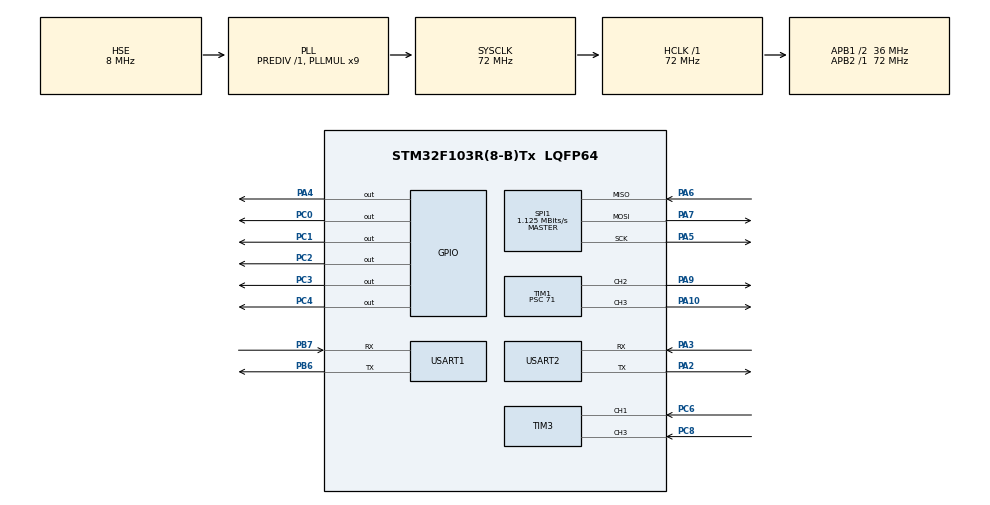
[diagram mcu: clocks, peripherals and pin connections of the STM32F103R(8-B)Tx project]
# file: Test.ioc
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Dma.Request0=USART1_TX
Dma.Request1=USART1_RX
Dma.USART1_RX.1.Direction=DMA_PERIPH_TO_MEMORY
Dma.USART1_RX.1.Instance=DMA1_Channel5
Dma.USART1_RX.1.MemDataAlignment=DMA_MDATAALIGN_BYTE
Dma.USART1_RX.1.MemInc=DMA_MINC_ENABLE
Dma.USART1_RX.1.Mode=DMA_NORMAL
Dma.USART1_RX.1.PeriphDataAlignment=DMA_PDATAALIGN_BYTE
Dma.USART1_RX.1.PeriphInc=DMA_PINC_DISABLE
Dma.USART1_RX.1.Priority=DMA_PRIORITY_VERY_HIGH
Dma.USART1_TX.0.Direction=DMA_MEMORY_TO_PERIPH
Dma.USART1_TX.0.Instance=DMA1_Channel4
Dma.USART1_TX.0.MemDataAlignment=DMA_MDATAALIGN_BYTE
Dma.USART1_TX.0.MemInc=DMA_MINC_ENABLE
Dma.USART1_TX.0.Mode=DMA_NORMAL
Dma.USART1_TX.0.PeriphDataAlignment=DMA_PDATAALIGN_BYTE
Dma.USART1_TX.0.PeriphInc=DMA_PINC_DISABLE
Dma.USART1_TX.0.Priority=DMA_PRIORITY_LOW
FREERTOS.Tasks01=imuCalTask,24,256,StartImuCalTask,Default,NULL,Dynamic,NULL,NULL;odometryTask,24,128,StartOdometryTask,Default,NULL,Dynamic,NULL,NULL
FREERTOS.configTOTAL_HEAP_SIZE=13000
Mcu.Family=STM32F1
Mcu.Name=STM32F103R(8-B)Tx
Mcu.Package=LQFP64
NVIC.DMA1_Channel4_IRQn=true\:5\:0\:false\:false\:true\:true\:false\:true\:true
NVIC.DMA1_Channel5_IRQn=true\:5\:0\:false\:false\:true\:true\:false\:true\:true
NVIC.PriorityGroup=NVIC_PRIORITYGROUP_4
NVIC.TIM3_IRQn=true\:5\:0\:false\:false\:true\:true\:true\:true\:true
PA10.Signal=S_TIM1_CH3
PA13.Mode=Serial_Wire
PA13.Signal=SYS_JTMS-SWDIO
PA14.Mode=Serial_Wire
PA14.Signal=SYS_JTCK-SWCLK
PA2.Mode=Asynchronous
PA2.Signal=USART2_TX
PA3.Mode=Asynchronous
PA3.Signal=USART2_RX
PA4.Signal=GPIO_Output
PA5.Mode=Full_Duplex_Master
PA5.Signal=SPI1_SCK
PA6.Mode=Full_Duplex_Master
PA6.Signal=SPI1_MISO
PA7.Mode=Full_Duplex_Master
PA7.Signal=SPI1_MOSI
PA9.Signal=S_TIM1_CH2
PB6.Mode=Asynchronous
PB6.Signal=USART1_TX
PB7.Mode=Asynchronous
PB7.Signal=USART1_RX
PC0.Signal=GPIO_Output
PC1.Signal=GPIO_Output
PC2.Signal=GPIO_Output
PC3.Signal=GPIO_Output
PC4.Signal=GPIO_Output
PC6.GPIO_PuPd=GPIO_PULLUP
PC6.Signal=S_TIM3_CH1
PC8.Signal=S_TIM3_CH3
PD0-OSC_IN.Mode=HSE-External-Oscillator
PD0-OSC_IN.Signal=RCC_OSC_IN
PD1-OSC_OUT.Mode=HSE-External-Oscillator
PD1-OSC_OUT.Signal=RCC_OSC_OUT
ProjectManager.HeapSize=0x200
ProjectManager.StackSize=0x400
ProjectManager.TargetToolchain=STM32CubeIDE
RCC.AHBFreq_Value=72000000
RCC.APB1CLKDivider=RCC_HCLK_DIV2
RCC.APB1Freq_Value=36000000
RCC.APB1TimFreq_Value=72000000
RCC.APB2Freq_Value=72000000
RCC.APB2TimFreq_Value=72000000
RCC.HCLKFreq_Value=72000000
RCC.PLLMUL=RCC_PLL_MUL9
RCC.PLLSourceVirtual=RCC_PLLSOURCE_HSE
RCC.SYSCLKFreq_VALUE=72000000
RCC.SYSCLKSource=RCC_SYSCLKSOURCE_PLLCLK
RCC.USBFreq_Value=72000000
SH.S_TIM1_CH2.0=TIM1_CH2,PWM Generation2 CH2
SH.S_TIM1_CH3.0=TIM1_CH3,PWM Generation3 CH3
SH.S_TIM3_CH1.0=TIM3_CH1,Input_Capture1_from_TI1
SH.S_TIM3_CH3.0=TIM3_CH3,Input_Capture3_from_TI3
SPI1.BaudRatePrescaler=SPI_BAUDRATEPRESCALER_64
SPI1.CLKPhase=SPI_PHASE_2EDGE
SPI1.CLKPolarity=SPI_POLARITY_HIGH
SPI1.CalculateBaudRate=1.125 MBits/s
SPI1.Direction=SPI_DIRECTION_2LINES
SPI1.Mode=SPI_MODE_MASTER
SPI1.VirtualType=VM_MASTER
TIM1.Channel-PWM\ Generation2\ CH2=TIM_CHANNEL_2
TIM1.Channel-PWM\ Generation3\ CH3=TIM_CHANNEL_3
TIM1.Period=1000
TIM1.Prescaler=71
TIM3.Channel-Input_Capture1_from_TI1=TIM_CHANNEL_1
TIM3.Channel-Input_Capture3_from_TI3=TIM_CHANNEL_3
TIM3.ICFilter_CH1=0
USART1.VirtualMode=VM_ASYNC
USART2.VirtualMode=VM_ASYNC
VP_FREERTOS_VS_CMSIS_V2.Mode=CMSIS_V2
VP_TIM1_VS_ClockSourceINT.Mode=Internal
board=custom

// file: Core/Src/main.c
/* USER CODE BEGIN Header */
/**
  ******************************************************************************
  * @file           : main.c
  * @brief          : Main program body
  ******************************************************************************
  * @attention
  *
  * Copyright (c) 2025 STMicroelectronics.
  * All rights reserved.
  *
  * This software is licensed under terms that can be found in the LICENSE file
  * in the root directory of this software component.
  * If no LICENSE file comes with this software, it is provided AS-IS.
  *
  ******************************************************************************
  */
/* USER CODE END Header */
#include "main.h"
#include "cmsis_os.h"

/* USER CODE BEGIN Includes */
#include <stdio.h>
#include "imu.h"
#include "motor.h"

#define _USE_MATH_DEFINES
#include <math.h>
/* USER CODE END Includes */

/* USER CODE BEGIN PD */
#define CMD_IMU 0
#define CMD_ODOM 1
#define CMD_VEL 2
#define CMD_VEL_LENGTH 11
/* USER CODE END PD */

SPI_HandleTypeDef hspi1;

TIM_HandleTypeDef htim1;
TIM_HandleTypeDef htim3;

UART_HandleTypeDef huart1;
UART_HandleTypeDef huart2;
DMA_HandleTypeDef hdma_usart1_tx;
DMA_HandleTypeDef hdma_usart1_rx;

/* Definitions for imuCalTask */
osThreadId_t imuCalTaskHandle;
const osThreadAttr_t imuCalTask_attributes = {
  .name = "imuCalTask",
  .stack_size = 256 * 4,
  .priority = (osPriority_t) osPriorityNormal,
};
/* Definitions for odometryTask */
osThreadId_t odometryTaskHandle;
const osThreadAttr_t odometryTask_attributes = {
  .name = "odometryTask",
  .stack_size = 128 * 4,
  .priority = (osPriority_t) osPriorityNormal,
};
/* USER CODE BEGIN PV */
__IO int32_t count_l = 0, count_r = 0;
__IO int8_t left_direction = 1, right_direction = 1;

typedef struct {
	float angular_velocity[3];
	float linear_acceleration[3];
} Imu;

typedef struct {
	int32_t left_tick;
	int32_t right_tick;
} Odom;

__IO Imu imu_data;
__IO Odom odom_data;
Motor motor;
osMutexId_t uartMutex;

uint8_t rx_buffer[16];
/* USER CODE END PV */

void SystemClock_Config(void);
static void MX_GPIO_Init(void);
static void MX_DMA_Init(void);
static void MX_SPI1_Init(void);
static void MX_TIM1_Init(void);
static void MX_USART2_UART_Init(void);
static void MX_TIM3_Init(void);
static void MX_USART1_UART_Init(void);
void StartImuCalTask(void *argument);
void StartOdometryTask(void *argument);

/* USER CODE BEGIN PFP */
int _write(int file, char* p, int len);
//int __io_putchar(int ch)
//{
// // Write character to ITM ch.0
// ITM_SendChar(ch);
// return(ch);
//}

void IMU_Init(ICM20948* imu);
void Motor_Init(Motor* motor);
/* USER CODE END PFP */

int main(void)
{

  /* MCU Configuration--------------------------------------------------------*/

  /* Reset of all peripherals, Initializes the Flash interface and the Systick. */
  HAL_Init();

  /* Configure the system clock */
  SystemClock_Config();

  /* Initialize all configured peripherals */
  MX_GPIO_Init();
  MX_DMA_Init();
  MX_SPI1_Init();
  MX_TIM1_Init();
  MX_USART2_UART_Init();
  MX_TIM3_Init();
  MX_USART1_UART_Init();
  /* USER CODE BEGIN 2 */
  Motor_Init(&motor);
  Motor_Start(&motor);

  HAL_UARTEx_ReceiveToIdle_DMA(&huart1, rx_buffer, 11);
  const osMutexAttr_t uartMutex_attr = {
    .name = "uartMutex"
  };

  uartMutex = osMutexNew(&uartMutex_attr);
  /* USER CODE END 2 */

  /* Init scheduler */
  osKernelInitialize();

  /* Create the thread(s) */
  /* creation of imuCalTask */
  imuCalTaskHandle = osThreadNew(StartImuCalTask, NULL, &imuCalTask_attributes);

  /* creation of odometryTask */
  odometryTaskHandle = osThreadNew(StartOdometryTask, NULL, &odometryTask_attributes);

  /* Start scheduler */
  osKernelStart();

  /* We should never get here as control is now taken by the scheduler */

  /* Infinite loop */
  while (1)
  {

  }
}

void SystemClock_Config(void)
{
  RCC_OscInitTypeDef RCC_OscInitStruct = {0};
  RCC_ClkInitTypeDef RCC_ClkInitStruct = {0};

  /** Initializes the RCC Oscillators according to the specified parameters
  * in the RCC_OscInitTypeDef structure.
  */
  RCC_OscInitStruct.OscillatorType = RCC_OSCILLATORTYPE_HSE;
  RCC_OscInitStruct.HSEState = RCC_HSE_ON;
  RCC_OscInitStruct.HSEPredivValue = RCC_HSE_PREDIV_DIV1;
  RCC_OscInitStruct.HSIState = RCC_HSI_ON;
  RCC_OscInitStruct.PLL.PLLState = RCC_PLL_ON;
  RCC_OscInitStruct.PLL.PLLSource = RCC_PLLSOURCE_HSE;
  RCC_OscInitStruct.PLL.PLLMUL = RCC_PLL_MUL9;
  if (HAL_RCC_OscConfig(&RCC_OscInitStruct) != HAL_OK)
  {
    Error_Handler();
  }

  /** Initializes the CPU, AHB and APB buses clocks
  */
  RCC_ClkInitStruct.ClockType = RCC_CLOCKTYPE_HCLK|RCC_CLOCKTYPE_SYSCLK
                              |RCC_CLOCKTYPE_PCLK1|RCC_CLOCKTYPE_PCLK2;
  RCC_ClkInitStruct.SYSCLKSource = RCC_SYSCLKSOURCE_PLLCLK;
  RCC_ClkInitStruct.AHBCLKDivider = RCC_SYSCLK_DIV1;
  RCC_ClkInitStruct.APB1CLKDivider = RCC_HCLK_DIV2;
  RCC_ClkInitStruct.APB2CLKDivider = RCC_HCLK_DIV1;

  if (HAL_RCC_ClockConfig(&RCC_ClkInitStruct, FLASH_LATENCY_2) != HAL_OK)
  {
    Error_Handler();
  }
}

static void MX_SPI1_Init(void)
{

  /* SPI1 parameter configuration*/
  hspi1.Instance = SPI1;
  hspi1.Init.Mode = SPI_MODE_MASTER;
  hspi1.Init.Direction = SPI_DIRECTION_2LINES;
  hspi1.Init.DataSize = SPI_DATASIZE_8BIT;
  hspi1.Init.CLKPolarity = SPI_POLARITY_HIGH;
  hspi1.Init.CLKPhase = SPI_PHASE_2EDGE;
  hspi1.Init.NSS = SPI_NSS_SOFT;
  hspi1.Init.BaudRatePrescaler = SPI_BAUDRATEPRESCALER_64;
  hspi1.Init.FirstBit = SPI_FIRSTBIT_MSB;
  hspi1.Init.TIMode = SPI_TIMODE_DISABLE;
  hspi1.Init.CRCCalculation = SPI_CRCCALCULATION_DISABLE;
  hspi1.Init.CRCPolynomial = 10;
  if (HAL_SPI_Init(&hspi1) != HAL_OK)
  {
    Error_Handler();
  }

}

static void MX_TIM1_Init(void)
{

  TIM_ClockConfigTypeDef sClockSourceConfig = {0};
  TIM_MasterConfigTypeDef sMasterConfig = {0};
  TIM_OC_InitTypeDef sConfigOC = {0};
  TIM_BreakDeadTimeConfigTypeDef sBreakDeadTimeConfig = {0};

  htim1.Instance = TIM1;
  htim1.Init.Prescaler = 71;
  htim1.Init.CounterMode = TIM_COUNTERMODE_UP;
  htim1.Init.Period = 1000;
  htim1.Init.ClockDivision = TIM_CLOCKDIVISION_DIV1;
  htim1.Init.RepetitionCounter = 0;
  htim1.Init.AutoReloadPreload = TIM_AUTORELOAD_PRELOAD_DISABLE;
  if (HAL_TIM_Base_Init(&htim1) != HAL_OK)
  {
    Error_Handler();
  }
  sClockSourceConfig.ClockSource = TIM_CLOCKSOURCE_INTERNAL;
  if (HAL_TIM_ConfigClockSource(&htim1, &sClockSourceConfig) != HAL_OK)
  {
    Error_Handler();
  }
  if (HAL_TIM_PWM_Init(&htim1) != HAL_OK)
  {
    Error_Handler();
  }
  sMasterConfig.MasterOutputTrigger = TIM_TRGO_RESET;
  sMasterConfig.MasterSlaveMode = TIM_MASTERSLAVEMODE_DISABLE;
  if (HAL_TIMEx_MasterConfigSynchronization(&htim1, &sMasterConfig) != HAL_OK)
  {
    Error_Handler();
  }
  sConfigOC.OCMode = TIM_OCMODE_PWM1;
  sConfigOC.Pulse = 0;
  sConfigOC.OCPolarity = TIM_OCPOLARITY_HIGH;
  sConfigOC.OCNPolarity = TIM_OCNPOLARITY_HIGH;
  sConfigOC.OCFastMode = TIM_OCFAST_DISABLE;
  sConfigOC.OCIdleState = TIM_OCIDLESTATE_RESET;
  sConfigOC.OCNIdleState = TIM_OCNIDLESTATE_RESET;
  if (HAL_TIM_PWM_ConfigChannel(&htim1, &sConfigOC, TIM_CHANNEL_2) != HAL_OK)
  {
    Error_Handler();
  }
  if (HAL_TIM_PWM_ConfigChannel(&htim1, &sConfigOC, TIM_CHANNEL_3) != HAL_OK)
  {
    Error_Handler();
  }
  sBreakDeadTimeConfig.OffStateRunMode = TIM_OSSR_DISABLE;
  sBreakDeadTimeConfig.OffStateIDLEMode = TIM_OSSI_DISABLE;
  sBreakDeadTimeConfig.LockLevel = TIM_LOCKLEVEL_OFF;
  sBreakDeadTimeConfig.DeadTime = 0;
  sBreakDeadTimeConfig.BreakState = TIM_BREAK_DISABLE;
  sBreakDeadTimeConfig.BreakPolarity = TIM_BREAKPOLARITY_HIGH;
  sBreakDeadTimeConfig.AutomaticOutput = TIM_AUTOMATICOUTPUT_DISABLE;
  if (HAL_TIMEx_ConfigBreakDeadTime(&htim1, &sBreakDeadTimeConfig) != HAL_OK)
  {
    Error_Handler();
  }
  HAL_TIM_MspPostInit(&htim1);

}

static void MX_TIM3_Init(void)
{

  TIM_MasterConfigTypeDef sMasterConfig = {0};
  TIM_IC_InitTypeDef sConfigIC = {0};

  htim3.Instance = TIM3;
  htim3.Init.Prescaler = 0;
  htim3.Init.CounterMode = TIM_COUNTERMODE_UP;
  htim3.Init.Period = 65535;
  htim3.Init.ClockDivision = TIM_CLOCKDIVISION_DIV1;
  htim3.Init.AutoReloadPreload = TIM_AUTORELOAD_PRELOAD_DISABLE;
  if (HAL_TIM_IC_Init(&htim3) != HAL_OK)
  {
    Error_Handler();
  }
  sMasterConfig.MasterOutputTrigger = TIM_TRGO_RESET;
  sMasterConfig.MasterSlaveMode = TIM_MASTERSLAVEMODE_DISABLE;
  if (HAL_TIMEx_MasterConfigSynchronization(&htim3, &sMasterConfig) != HAL_OK)
  {
    Error_Handler();
  }
  sConfigIC.ICPolarity = TIM_INPUTCHANNELPOLARITY_RISING;
  sConfigIC.ICSelection = TIM_ICSELECTION_DIRECTTI;
  sConfigIC.ICPrescaler = TIM_ICPSC_DIV1;
  sConfigIC.ICFilter = 0;
  if (HAL_TIM_IC_ConfigChannel(&htim3, &sConfigIC, TIM_CHANNEL_1) != HAL_OK)
  {
    Error_Handler();
  }
  if (HAL_TIM_IC_ConfigChannel(&htim3, &sConfigIC, TIM_CHANNEL_3) != HAL_OK)
  {
    Error_Handler();
  }

}

static void MX_USART1_UART_Init(void)
{

  huart1.Instance = USART1;
  huart1.Init.BaudRate = 115200;
  huart1.Init.WordLength = UART_WORDLENGTH_8B;
  huart1.Init.StopBits = UART_STOPBITS_1;
  huart1.Init.Parity = UART_PARITY_NONE;
  huart1.Init.Mode = UART_MODE_TX_RX;
  huart1.Init.HwFlowCtl = UART_HWCONTROL_NONE;
  huart1.Init.OverSampling = UART_OVERSAMPLING_16;
  if (HAL_UART_Init(&huart1) != HAL_OK)
  {
    Error_Handler();
  }

}

static void MX_USART2_UART_Init(void)
{

  huart2.Instance = USART2;
  huart2.Init.BaudRate = 115200;
  huart2.Init.WordLength = UART_WORDLENGTH_8B;
  huart2.Init.StopBits = UART_STOPBITS_1;
  huart2.Init.Parity = UART_PARITY_NONE;
  huart2.Init.Mode = UART_MODE_TX_RX;
  huart2.Init.HwFlowCtl = UART_HWCONTROL_NONE;
  huart2.Init.OverSampling = UART_OVERSAMPLING_16;
  if (HAL_UART_Init(&huart2) != HAL_OK)
  {
    Error_Handler();
  }

}

static void MX_DMA_Init(void)
{

  /* DMA controller clock enable */
  __HAL_RCC_DMA1_CLK_ENABLE();

  /* DMA interrupt init */
  /* DMA1_Channel4_IRQn interrupt configuration */
  HAL_NVIC_SetPriority(DMA1_Channel4_IRQn, 5, 0);
  HAL_NVIC_EnableIRQ(DMA1_Channel4_IRQn);
  /* DMA1_Channel5_IRQn interrupt configuration */
  HAL_NVIC_SetPriority(DMA1_Channel5_IRQn, 5, 0);
  HAL_NVIC_EnableIRQ(DMA1_Channel5_IRQn);

}

static void MX_GPIO_Init(void)
{
  GPIO_InitTypeDef GPIO_InitStruct = {0};

  /* GPIO Ports Clock Enable */
  __HAL_RCC_GPIOD_CLK_ENABLE();
  __HAL_RCC_GPIOC_CLK_ENABLE();
  __HAL_RCC_GPIOA_CLK_ENABLE();
  __HAL_RCC_GPIOB_CLK_ENABLE();

  /*Configure GPIO pin Output Level */
  HAL_GPIO_WritePin(GPIOC, GPIO_PIN_0|GPIO_PIN_1|GPIO_PIN_2|GPIO_PIN_3
                          |GPIO_PIN_4, GPIO_PIN_RESET);

  /*Configure GPIO pin Output Level */
  HAL_GPIO_WritePin(GPIOA, GPIO_PIN_4, GPIO_PIN_RESET);

  /*Configure GPIO pins : PC0 PC1 PC2 PC3
                           PC4 */
  GPIO_InitStruct.Pin = GPIO_PIN_0|GPIO_PIN_1|GPIO_PIN_2|GPIO_PIN_3
                          |GPIO_PIN_4;
  GPIO_InitStruct.Mode = GPIO_MODE_OUTPUT_PP;
  GPIO_InitStruct.Pull = GPIO_NOPULL;
  GPIO_InitStruct.Speed = GPIO_SPEED_FREQ_LOW;
  HAL_GPIO_Init(GPIOC, &GPIO_InitStruct);

  /*Configure GPIO pin : PA4 */
  GPIO_InitStruct.Pin = GPIO_PIN_4;
  GPIO_InitStruct.Mode = GPIO_MODE_OUTPUT_PP;
  GPIO_InitStruct.Pull = GPIO_NOPULL;
  GPIO_InitStruct.Speed = GPIO_SPEED_FREQ_LOW;
  HAL_GPIO_Init(GPIOA, &GPIO_InitStruct);

}

/* USER CODE BEGIN 4 */
int _write(int file, char* p, int len){
	HAL_UART_Transmit(&huart2, (const uint8_t*)p, len, 10);
	return len;
}

void IMU_Init(ICM20948* imu) {
  imu->spi_handle = &hspi1;
  imu->spi_port = GPIOA;
  imu->sclk_pin = GPIO_PIN_5;
  imu->miso_pin = GPIO_PIN_6;
  imu->mosi_pin = GPIO_PIN_7;
  imu->cs_pin = GPIO_PIN_4;

  Set_Ub(imu, 0);
  Write_Data(imu, PWR_MGMT_1, 0x80);
  osDelay(100);
  Write_Data(imu, PWR_MGMT_1, 0x01);
  Write_Data(imu, PWR_MGMT_2, 0x00);
  osDelay(1);

  if (Set_Gyro_Config1(imu, 0b000, DPS_250, 0b0) || Set_Accel_Config(imu, 0b000, FSR_2g, 0b0)) {
	  printf("ICM20948 config error!\r\n");
  } else {
	  printf("ICM20948 config success!\r\n");
  }

}

void Motor_Init(Motor* motor) {
	motor->left_gpio_port = GPIOC;
	motor->right_gpio_port = GPIOC;
	motor->left_int1_pin = GPIO_PIN_0;
	motor->left_int2_pin = GPIO_PIN_1;
	motor->right_int1_pin = GPIO_PIN_2;
	motor->right_int2_pin = GPIO_PIN_3;
	motor->motor_handle.left_htim = &htim1;
	motor->motor_handle.right_htim = &htim1;
	motor->motor_handle.left_channel = TIM_CHANNEL_2;
	motor->motor_handle.right_channel = TIM_CHANNEL_3;
}

void HAL_TIM_IC_CaptureCallback(TIM_HandleTypeDef* htim) {
	if (htim->Channel == HAL_TIM_ACTIVE_CHANNEL_1) {
		count_l += left_direction;
	} else if (htim->Channel == HAL_TIM_ACTIVE_CHANNEL_3) {
		count_r += right_direction;
	}
}

void HAL_UARTEx_RxEventCallback(UART_HandleTypeDef *huart, uint16_t Size)
{
    if (huart->Instance == USART1)
    {
    	for(int i=0; i < Size-10; i++)
    	{
    	    if(rx_buffer[i] == 0xAA && rx_buffer[i+10] == 0xFF)
    	    {
    	    	if (rx_buffer[i+1] != CMD_VEL) continue;
    	        float left, right;

    	        memcpy(&left, &rx_buffer[i+2], 4);
    	        memcpy(&right, &rx_buffer[i+6], 4);

    	        Set_Left_Motor(&motor, left);
    	        Set_Right_Motor(&motor, right);
    	        left_direction = (left >= 0) ? 1 : -1;
				right_direction = (right >= 0) ? 1 : -1;
				printf("%f, %f\r\n", left, right);
    	    }
    	}

        HAL_UARTEx_ReceiveToIdle_DMA(&huart1, rx_buffer, CMD_VEL_LENGTH);
    }
}
/* USER CODE END 4 */

void StartImuCalTask(void *argument)
{
  /* USER CODE BEGIN 5 */
	ICM20948 imu;
	IMU_Init(&imu);
	HAL_GPIO_WritePin(GPIOC, GPIO_PIN_4, GPIO_PIN_SET);
	int calibrated = 0;
	uint16_t start_time = HAL_GetTick();
	float gyro[3], accel[3];
	float samples[3], bias[3];
	uint16_t sample_count = 0;
  /* Infinite loop */
	for(;;)
	{
		Get_Gyro(&imu, gyro);
		if (!calibrated) {
			sample_count++;
			samples[0] += gyro[0];
			samples[1] += gyro[1];
			samples[2] += gyro[2];
			if (HAL_GetTick() - start_time >= 3000) {
				calibrated = 1;
				bias[0] = samples[0] / sample_count;
				bias[1] = samples[1] / sample_count;
				bias[2] = samples[2] / sample_count;
			}
			continue;
		}
		Get_Accel(&imu, accel);
		imu_data.angular_velocity[0] = (gyro[0] - bias[0]) * M_PI / 180;
		imu_data.angular_velocity[1] = (gyro[1] - bias[1]) * M_PI / 180;
		imu_data.angular_velocity[2] = (gyro[2] - bias[2]) * M_PI / 180;
		imu_data.linear_acceleration[0] = accel[0] * 9.80665;
		imu_data.linear_acceleration[1] = accel[1] * 9.80665;
		imu_data.linear_acceleration[2] = accel[2] * 9.80665;

		uint8_t buffer[27];
		buffer[0] = 0xAA;
		buffer[26] = 0xFF;
		memset(buffer + 1, CMD_IMU, 1);
		memcpy(buffer + 2, &imu_data, 24);
		osMutexAcquire(uartMutex, osWaitForever);
		HAL_UART_Transmit(&huart1, buffer, 27, 50);
		osMutexRelease(uartMutex);
//		printf("av.x : %f, av.y : %f, av.z : %f\r\nla.x : %f, la.y : %f, la.z : %f\n\r",
//				imu_data.angular_velocity[0], imu_data.angular_velocity[1], imu_data.angular_velocity[2],
//				imu_data.linear_acceleration[0], imu_data.linear_acceleration[1], imu_data.linear_acceleration[2]);

		osDelay(20);
	}
  /* USER CODE END 5 */
}

void StartOdometryTask(void *argument)
{
  /* USER CODE BEGIN StartOdometryTask */
	HAL_TIM_IC_Start_IT(&htim3, TIM_CHANNEL_1);
	HAL_TIM_IC_Start_IT(&htim3, TIM_CHANNEL_3);
  /* Infinite loop */
	for(;;)
	{
		odom_data.left_tick = count_l;
		odom_data.right_tick = count_r;
		uint8_t buffer[11];
		buffer[0] = 0xAA;
		buffer[10] = 0xFF;
		memset(buffer + 1, CMD_ODOM, 1);
		memcpy(buffer + 2, &odom_data, 8);
		osMutexAcquire(uartMutex, osWaitForever);
		HAL_UART_Transmit(&huart1, buffer, 11, 50);
		osMutexRelease(uartMutex);
		// printf("left %d right %d\r\n", count_l, count_r);
		osDelay(20);
	}
  /* USER CODE END StartOdometryTask */
}

void Error_Handler(void)
{
  __disable_irq();
  while (1)
  {
  }
}
